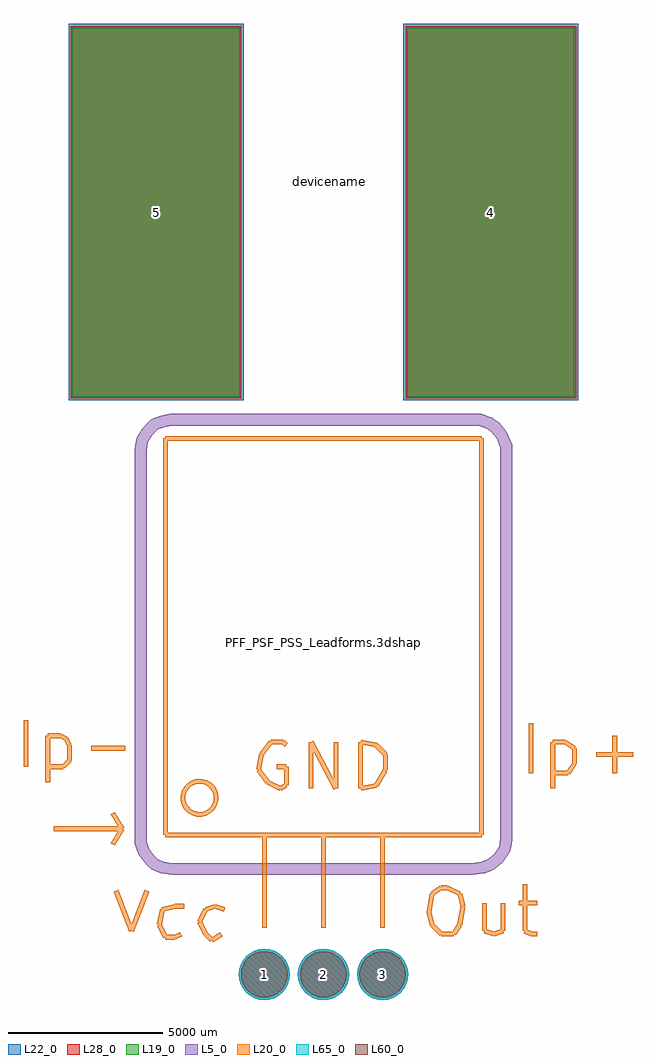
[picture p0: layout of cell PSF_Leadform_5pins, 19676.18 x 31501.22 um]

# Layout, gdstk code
import gdstk
lib = gdstk.Library(unit=1e-6, precision=1e-09)
def R(c, l, rs):  # rectangles x0, y0, x1, y1
    for r in rs: c.add(gdstk.rectangle(r[:2], r[2:], *l))
def P(c, l, *ps):  # polygons
    for p in ps: c.add(gdstk.Polygon(p, *l))
L5_0 = (5, 0)
L19_0 = (19, 0)
L20_0 = (20, 0)
L22_0 = (22, 0)
L28_0 = (28, 0)
L60_0 = (60, 0)
L65_0 = (65, 0)

psf_leadform_5pins = lib.new_cell('PSF_Leadform_5pins')
R(psf_leadform_5pins, L19_0, [(-8100.86,7948.13,-2699.22,19849.63), (2699.22,7948.13,8100.86,19849.63)])
R(psf_leadform_5pins, L22_0, [(-8225.86,7823.13,-2574.22,19974.63), (2574.22,7823.13,8225.86,19974.63)])
P(psf_leadform_5pins, L22_0, [(-1084.51,-10701.02),(-1100.373,-10539.959),(-1147.353,-10385.088),(-1223.644,-10242.358),(-1326.314,-10117.254),(-1451.418,-10014.584),(-1594.148,-9938.293),(-1749.019,-9891.313),(-1910.08,-9875.45),(-2071.141,-9891.313),(-2226.012,-9938.293),(-2368.742,-10014.584),(-2493.846,-10117.254),(-2596.516,-10242.358),(-2672.807,-10385.088),(-2719.787,-10539.959),(-2735.65,-10701.02),(-2719.787,-10862.081),(-2672.807,-11016.952),(-2596.516,-11159.682),(-2493.846,-11284.786),(-2368.742,-11387.456),(-2226.012,-11463.747),(-2071.141,-11510.727),(-1910.08,-11526.59),(-1749.019,-11510.727),(-1594.148,-11463.747),(-1451.418,-11387.456),(-1326.314,-11284.786),(-1223.644,-11159.682),(-1147.353,-11016.952),(-1100.373,-10862.081)],
  [(2735.65,-10701.02),(2719.787,-10539.959),(2672.807,-10385.088),(2596.516,-10242.358),(2493.846,-10117.254),(2368.742,-10014.584),(2226.012,-9938.293),(2071.141,-9891.313),(1910.08,-9875.45),(1749.019,-9891.313),(1594.148,-9938.293),(1451.418,-10014.584),(1326.314,-10117.254),(1223.644,-10242.358),(1147.353,-10385.088),(1100.373,-10539.959),(1084.51,-10701.02),(1100.373,-10862.081),(1147.353,-11016.952),(1223.644,-11159.682),(1326.314,-11284.786),(1451.418,-11387.456),(1594.148,-11463.747),(1749.019,-11510.727),(1910.08,-11526.59),(2071.141,-11510.727),(2226.012,-11463.747),(2368.742,-11387.456),(2493.846,-11284.786),(2596.516,-11159.682),(2672.807,-11016.952),(2719.787,-10862.081)],
  [(825.57,-10701.02),(809.707,-10539.959),(762.727,-10385.088),(686.436,-10242.358),(583.766,-10117.254),(458.662,-10014.584),(315.932,-9938.293),(161.061,-9891.313),(0,-9875.45),(-161.061,-9891.313),(-315.932,-9938.293),(-458.662,-10014.584),(-583.766,-10117.254),(-686.436,-10242.358),(-762.727,-10385.088),(-809.707,-10539.959),(-825.57,-10701.02),(-809.707,-10862.081),(-762.727,-11016.952),(-686.436,-11159.682),(-583.766,-11284.786),(-458.662,-11387.456),(-315.932,-11463.747),(-161.061,-11510.727),(0,-11526.59),(161.061,-11510.727),(315.932,-11463.747),(458.662,-11387.456),(583.766,-11284.786),(686.436,-11159.682),(762.727,-11016.952),(809.707,-10862.081)])
R(psf_leadform_5pins, L28_0, [(-8150.86,7898.13,-2649.22,19899.63), (2649.22,7898.13,8150.86,19899.63)])
P(psf_leadform_5pins, L28_0, [(-1159.51,-10701.02),(-1173.932,-10554.591),(-1216.644,-10413.789),(-1286.004,-10284.026),(-1379.347,-10170.287),(-1493.086,-10076.944),(-1622.849,-10007.584),(-1763.651,-9964.872),(-1910.08,-9950.45),(-2056.509,-9964.872),(-2197.311,-10007.584),(-2327.074,-10076.944),(-2440.813,-10170.287),(-2534.156,-10284.026),(-2603.516,-10413.789),(-2646.228,-10554.591),(-2660.65,-10701.02),(-2646.228,-10847.449),(-2603.516,-10988.251),(-2534.156,-11118.014),(-2440.813,-11231.753),(-2327.074,-11325.096),(-2197.311,-11394.456),(-2056.509,-11437.168),(-1910.08,-11451.59),(-1763.651,-11437.168),(-1622.849,-11394.456),(-1493.086,-11325.096),(-1379.347,-11231.753),(-1286.004,-11118.014),(-1216.644,-10988.251),(-1173.932,-10847.449)],
  [(2660.65,-10701.02),(2646.228,-10554.591),(2603.516,-10413.789),(2534.156,-10284.026),(2440.813,-10170.287),(2327.074,-10076.944),(2197.311,-10007.584),(2056.509,-9964.872),(1910.08,-9950.45),(1763.651,-9964.872),(1622.849,-10007.584),(1493.086,-10076.944),(1379.347,-10170.287),(1286.004,-10284.026),(1216.644,-10413.789),(1173.932,-10554.591),(1159.51,-10701.02),(1173.932,-10847.449),(1216.644,-10988.251),(1286.004,-11118.014),(1379.347,-11231.753),(1493.086,-11325.096),(1622.849,-11394.456),(1763.651,-11437.168),(1910.08,-11451.59),(2056.509,-11437.168),(2197.311,-11394.456),(2327.074,-11325.096),(2440.813,-11231.753),(2534.156,-11118.014),(2603.516,-10988.251),(2646.228,-10847.449)],
  [(750.57,-10701.02),(736.148,-10554.591),(693.436,-10413.789),(624.076,-10284.026),(530.733,-10170.287),(416.994,-10076.944),(287.231,-10007.584),(146.429,-9964.872),(0,-9950.45),(-146.429,-9964.872),(-287.231,-10007.584),(-416.994,-10076.944),(-530.733,-10170.287),(-624.076,-10284.026),(-693.436,-10413.789),(-736.148,-10554.591),(-750.57,-10701.02),(-736.148,-10847.449),(-693.436,-10988.251),(-624.076,-11118.014),(-530.733,-11231.753),(-416.994,-11325.096),(-287.231,-11394.456),(-146.429,-11437.168),(0,-11451.59),(146.429,-11437.168),(287.231,-11394.456),(416.994,-11325.096),(530.733,-11231.753),(624.076,-11118.014),(693.436,-10988.251),(736.148,-10847.449)])
P(psf_leadform_5pins, L60_0, [(-1159.51,-10701.02),(-1173.932,-10554.591),(-1216.644,-10413.789),(-1286.004,-10284.026),(-1379.347,-10170.287),(-1493.086,-10076.944),(-1622.849,-10007.584),(-1763.651,-9964.872),(-1910.08,-9950.45),(-2056.509,-9964.872),(-2197.311,-10007.584),(-2327.074,-10076.944),(-2440.813,-10170.287),(-2534.156,-10284.026),(-2603.516,-10413.789),(-2646.228,-10554.591),(-2660.65,-10701.02),(-2646.228,-10847.449),(-2603.516,-10988.251),(-2534.156,-11118.014),(-2440.813,-11231.753),(-2327.074,-11325.096),(-2197.311,-11394.456),(-2056.509,-11437.168),(-1910.08,-11451.59),(-1763.651,-11437.168),(-1622.849,-11394.456),(-1493.086,-11325.096),(-1379.347,-11231.753),(-1286.004,-11118.014),(-1216.644,-10988.251),(-1173.932,-10847.449)],
  [(2660.65,-10701.02),(2646.228,-10554.591),(2603.516,-10413.789),(2534.156,-10284.026),(2440.813,-10170.287),(2327.074,-10076.944),(2197.311,-10007.584),(2056.509,-9964.872),(1910.08,-9950.45),(1763.651,-9964.872),(1622.849,-10007.584),(1493.086,-10076.944),(1379.347,-10170.287),(1286.004,-10284.026),(1216.644,-10413.789),(1173.932,-10554.591),(1159.51,-10701.02),(1173.932,-10847.449),(1216.644,-10988.251),(1286.004,-11118.014),(1379.347,-11231.753),(1493.086,-11325.096),(1622.849,-11394.456),(1763.651,-11437.168),(1910.08,-11451.59),(2056.509,-11437.168),(2197.311,-11394.456),(2327.074,-11325.096),(2440.813,-11231.753),(2534.156,-11118.014),(2603.516,-10988.251),(2646.228,-10847.449)],
  [(750.57,-10701.02),(736.148,-10554.591),(693.436,-10413.789),(624.076,-10284.026),(530.733,-10170.287),(416.994,-10076.944),(287.231,-10007.584),(146.429,-9964.872),(0,-9950.45),(-146.429,-9964.872),(-287.231,-10007.584),(-416.994,-10076.944),(-530.733,-10170.287),(-624.076,-10284.026),(-693.436,-10413.789),(-736.148,-10554.591),(-750.57,-10701.02),(-736.148,-10847.449),(-693.436,-10988.251),(-624.076,-11118.014),(-530.733,-11231.753),(-416.994,-11325.096),(-287.231,-11394.456),(-146.429,-11437.168),(0,-11451.59),(146.429,-11437.168),(287.231,-11394.456),(416.994,-11325.096),(530.733,-11231.753),(624.076,-11118.014),(693.436,-10988.251),(736.148,-10847.449)])
P(psf_leadform_5pins, L65_0, [(-1084.51,-10701.02),(-1100.373,-10539.959),(-1147.353,-10385.088),(-1223.644,-10242.358),(-1326.314,-10117.254),(-1451.418,-10014.584),(-1594.148,-9938.293),(-1749.019,-9891.313),(-1910.08,-9875.45),(-2071.141,-9891.313),(-2226.012,-9938.293),(-2368.742,-10014.584),(-2493.846,-10117.254),(-2596.516,-10242.358),(-2672.807,-10385.088),(-2719.787,-10539.959),(-2735.65,-10701.02),(-2719.787,-10862.081),(-2672.807,-11016.952),(-2596.516,-11159.682),(-2493.846,-11284.786),(-2368.742,-11387.456),(-2226.012,-11463.747),(-2071.141,-11510.727),(-1910.08,-11526.59),(-1749.019,-11510.727),(-1594.148,-11463.747),(-1451.418,-11387.456),(-1326.314,-11284.786),(-1223.644,-11159.682),(-1147.353,-11016.952),(-1100.373,-10862.081)],
  [(2735.65,-10701.02),(2719.787,-10539.959),(2672.807,-10385.088),(2596.516,-10242.358),(2493.846,-10117.254),(2368.742,-10014.584),(2226.012,-9938.293),(2071.141,-9891.313),(1910.08,-9875.45),(1749.019,-9891.313),(1594.148,-9938.293),(1451.418,-10014.584),(1326.314,-10117.254),(1223.644,-10242.358),(1147.353,-10385.088),(1100.373,-10539.959),(1084.51,-10701.02),(1100.373,-10862.081),(1147.353,-11016.952),(1223.644,-11159.682),(1326.314,-11284.786),(1451.418,-11387.456),(1594.148,-11463.747),(1749.019,-11510.727),(1910.08,-11526.59),(2071.141,-11510.727),(2226.012,-11463.747),(2368.742,-11387.456),(2493.846,-11284.786),(2596.516,-11159.682),(2672.807,-11016.952),(2719.787,-10862.081)],
  [(825.57,-10701.02),(809.707,-10539.959),(762.727,-10385.088),(686.436,-10242.358),(583.766,-10117.254),(458.662,-10014.584),(315.932,-9938.293),(161.061,-9891.313),(0,-9875.45),(-161.061,-9891.313),(-315.932,-9938.293),(-458.662,-10014.584),(-583.766,-10117.254),(-686.436,-10242.358),(-762.727,-10385.088),(-809.707,-10539.959),(-825.57,-10701.02),(-809.707,-10862.081),(-762.727,-11016.952),(-686.436,-11159.682),(-583.766,-11284.786),(-458.662,-11387.456),(-315.932,-11463.747),(-161.061,-11510.727),(0,-11526.59),(161.061,-11510.727),(315.932,-11463.747),(458.662,-11387.456),(583.766,-11284.786),(686.436,-11159.682),(762.727,-11016.952),(809.707,-10862.081)])
psf_leadform_5pins.add(gdstk.FlexPath([(-5100.32,-6200.14),(-5100.32,6598.92)], 149.998, ends="flush", simple_path=True, layer=20, datatype=0))  # L20_0
psf_leadform_5pins.add(gdstk.FlexPath([(5100.32,-6200.14),(-5100.32,-6200.14)], 149.998, ends="flush", simple_path=True, layer=20, datatype=0))  # L20_0
psf_leadform_5pins.add(gdstk.FlexPath([(5100.32,6598.92),(5100.32,-6200.14)], 149.998, ends="flush", simple_path=True, layer=20, datatype=0))  # L20_0
psf_leadform_5pins.add(gdstk.FlexPath([(-5100.32,6598.92),(5100.32,6598.92)], 149.998, ends="flush", simple_path=True, layer=20, datatype=0))  # L20_0
psf_leadform_5pins.add(gdstk.FlexPath([(0,-6200.14),(0,-9199.88)], 149.998, ends="flush", simple_path=True, layer=20, datatype=0))  # L20_0
psf_leadform_5pins.add(gdstk.FlexPath([(-1899.92,-6200.14),(-1899.92,-9199.88)], 149.998, ends="flush", simple_path=True, layer=20, datatype=0))  # L20_0
psf_leadform_5pins.add(gdstk.FlexPath([(1899.92,-6200.14),(1899.92,-9199.88)], 149.998, ends="flush", simple_path=True, layer=20, datatype=0))  # L20_0
psf_leadform_5pins.add(gdstk.FlexPath([(-9601.2,-2499.36),(-9601.2,-4000.5)], 149.998, ends="flush", simple_path=True, layer=20, datatype=0))  # L20_0
psf_leadform_5pins.add(gdstk.FlexPath([(-8900.16,-2999.74),(-8900.16,-4500.88)], 149.998, ends="flush", simple_path=True, layer=20, datatype=0))  # L20_0
psf_leadform_5pins.add(gdstk.FlexPath([(-8399.78,-4000.5),(-8900.16,-4000.5)], 149.998, ends="flush", simple_path=True, layer=20, datatype=0))  # L20_0
psf_leadform_5pins.add(gdstk.FlexPath([(-8201.66,-3799.84),(-8399.78,-4000.5)], 149.998, ends="flush", simple_path=True, layer=20, datatype=0))  # L20_0
psf_leadform_5pins.add(gdstk.FlexPath([(-8201.66,-3299.46),(-8201.66,-3799.84)], 149.998, ends="flush", simple_path=True, layer=20, datatype=0))  # L20_0
psf_leadform_5pins.add(gdstk.FlexPath([(-8300.72,-3098.8),(-8201.66,-3299.46)], 149.998, ends="flush", simple_path=True, layer=20, datatype=0))  # L20_0
psf_leadform_5pins.add(gdstk.FlexPath([(-8501.38,-2999.74),(-8300.72,-3098.8)], 149.998, ends="flush", simple_path=True, layer=20, datatype=0))  # L20_0
psf_leadform_5pins.add(gdstk.FlexPath([(-8900.16,-2999.74),(-8501.38,-2999.74)], 149.998, ends="flush", simple_path=True, layer=20, datatype=0))  # L20_0
psf_leadform_5pins.add(gdstk.FlexPath([(-6400.8,-3401.06),(-7500.62,-3401.06)], 149.998, ends="flush", simple_path=True, layer=20, datatype=0))  # L20_0
psf_leadform_5pins.add(gdstk.FlexPath([(-1198.88,-4000.5),(-1501.14,-4000.5)], 149.998, ends="flush", simple_path=True, layer=20, datatype=0))  # L20_0
psf_leadform_5pins.add(gdstk.FlexPath([(-1198.88,-4599.94),(-1198.88,-4000.5)], 149.998, ends="flush", simple_path=True, layer=20, datatype=0))  # L20_0
psf_leadform_5pins.add(gdstk.FlexPath([(-1399.54,-4699),(-1198.88,-4599.94)], 149.998, ends="flush", simple_path=True, layer=20, datatype=0))  # L20_0
psf_leadform_5pins.add(gdstk.FlexPath([(-1800.86,-4500.88),(-1399.54,-4699)], 149.998, ends="flush", simple_path=True, layer=20, datatype=0))  # L20_0
psf_leadform_5pins.add(gdstk.FlexPath([(-2100.58,-4099.56),(-1800.86,-4500.88)], 149.998, ends="flush", simple_path=True, layer=20, datatype=0))  # L20_0
psf_leadform_5pins.add(gdstk.FlexPath([(-1998.98,-3599.18),(-2100.58,-4099.56)], 149.998, ends="flush", simple_path=True, layer=20, datatype=0))  # L20_0
psf_leadform_5pins.add(gdstk.FlexPath([(-1699.26,-3200.4),(-1998.98,-3599.18)], 149.998, ends="flush", simple_path=True, layer=20, datatype=0))  # L20_0
psf_leadform_5pins.add(gdstk.FlexPath([(-1300.48,-3200.4),(-1699.26,-3200.4)], 149.998, ends="flush", simple_path=True, layer=20, datatype=0))  # L20_0
psf_leadform_5pins.add(gdstk.FlexPath([(-1198.88,-3299.46),(-1300.48,-3200.4)], 149.998, ends="flush", simple_path=True, layer=20, datatype=0))  # L20_0
psf_leadform_5pins.add(gdstk.FlexPath([(398.78,-4699),(398.78,-3200.4)], 149.998, ends="flush", simple_path=True, layer=20, datatype=0))  # L20_0
psf_leadform_5pins.add(gdstk.FlexPath([(-398.78,-3200.4),(398.78,-4699)], 149.998, ends="flush", simple_path=True, layer=20, datatype=0))  # L20_0
psf_leadform_5pins.add(gdstk.FlexPath([(-398.78,-4699),(-398.78,-3200.4)], 149.998, ends="flush", simple_path=True, layer=20, datatype=0))  # L20_0
psf_leadform_5pins.add(gdstk.FlexPath([(1699.26,-3299.46),(1198.88,-3200.4)], 149.998, ends="flush", simple_path=True, layer=20, datatype=0))  # L20_0
psf_leadform_5pins.add(gdstk.FlexPath([(1998.98,-3599.18),(1699.26,-3299.46)], 149.998, ends="flush", simple_path=True, layer=20, datatype=0))  # L20_0
psf_leadform_5pins.add(gdstk.FlexPath([(1998.98,-4099.56),(1998.98,-3599.18)], 149.998, ends="flush", simple_path=True, layer=20, datatype=0))  # L20_0
psf_leadform_5pins.add(gdstk.FlexPath([(1699.26,-4599.94),(1998.98,-4099.56)], 149.998, ends="flush", simple_path=True, layer=20, datatype=0))  # L20_0
psf_leadform_5pins.add(gdstk.FlexPath([(1198.88,-4699),(1699.26,-4599.94)], 149.998, ends="flush", simple_path=True, layer=20, datatype=0))  # L20_0
psf_leadform_5pins.add(gdstk.FlexPath([(1198.88,-3200.4),(1198.88,-4699)], 149.998, ends="flush", simple_path=True, layer=20, datatype=0))  # L20_0
psf_leadform_5pins.add(gdstk.FlexPath([(6700.52,-2600.96),(6700.52,-4201.16)], 149.998, ends="flush", simple_path=True, layer=20, datatype=0))  # L20_0
psf_leadform_5pins.add(gdstk.FlexPath([(7399.02,-3200.4),(7399.02,-4699)], 149.998, ends="flush", simple_path=True, layer=20, datatype=0))  # L20_0
psf_leadform_5pins.add(gdstk.FlexPath([(7899.4,-4201.16),(7500.62,-4201.16)], 149.998, ends="flush", simple_path=True, layer=20, datatype=0))  # L20_0
psf_leadform_5pins.add(gdstk.FlexPath([(8100.06,-3898.9),(7899.4,-4201.16)], 149.998, ends="flush", simple_path=True, layer=20, datatype=0))  # L20_0
psf_leadform_5pins.add(gdstk.FlexPath([(8100.06,-3401.06),(8100.06,-3898.9)], 149.998, ends="flush", simple_path=True, layer=20, datatype=0))  # L20_0
psf_leadform_5pins.add(gdstk.FlexPath([(7800.34,-3200.4),(8100.06,-3401.06)], 149.998, ends="flush", simple_path=True, layer=20, datatype=0))  # L20_0
psf_leadform_5pins.add(gdstk.FlexPath([(7399.02,-3200.4),(7800.34,-3200.4)], 149.998, ends="flush", simple_path=True, layer=20, datatype=0))  # L20_0
psf_leadform_5pins.add(gdstk.FlexPath([(9999.98,-3599.18),(8798.56,-3599.18)], 149.998, ends="flush", simple_path=True, layer=20, datatype=0))  # L20_0
psf_leadform_5pins.add(gdstk.FlexPath([(9400.54,-2999.74),(9400.54,-4201.16)], 149.998, ends="flush", simple_path=True, layer=20, datatype=0))  # L20_0
psf_leadform_5pins.add(gdstk.FlexPath([(4399.28,-8097.52),(4000.5,-7899.4)], 149.998, ends="flush", simple_path=True, layer=20, datatype=0))  # L20_0
psf_leadform_5pins.add(gdstk.FlexPath([(4500.88,-8498.84),(4399.28,-8097.52)], 149.998, ends="flush", simple_path=True, layer=20, datatype=0))  # L20_0
psf_leadform_5pins.add(gdstk.FlexPath([(4399.28,-9098.28),(4500.88,-8498.84)], 149.998, ends="flush", simple_path=True, layer=20, datatype=0))  # L20_0
psf_leadform_5pins.add(gdstk.FlexPath([(4201.16,-9398),(4399.28,-9098.28)], 149.998, ends="flush", simple_path=True, layer=20, datatype=0))  # L20_0
psf_leadform_5pins.add(gdstk.FlexPath([(3799.84,-9398),(4201.16,-9398)], 149.998, ends="flush", simple_path=True, layer=20, datatype=0))  # L20_0
psf_leadform_5pins.add(gdstk.FlexPath([(3500.12,-9098.28),(3799.84,-9398)], 149.998, ends="flush", simple_path=True, layer=20, datatype=0))  # L20_0
psf_leadform_5pins.add(gdstk.FlexPath([(3401.06,-8699.5),(3500.12,-9098.28)], 149.998, ends="flush", simple_path=True, layer=20, datatype=0))  # L20_0
psf_leadform_5pins.add(gdstk.FlexPath([(3500.12,-8097.52),(3401.06,-8699.5)], 149.998, ends="flush", simple_path=True, layer=20, datatype=0))  # L20_0
psf_leadform_5pins.add(gdstk.FlexPath([(3799.84,-7899.4),(3500.12,-8097.52)], 149.998, ends="flush", simple_path=True, layer=20, datatype=0))  # L20_0
psf_leadform_5pins.add(gdstk.FlexPath([(4000.5,-7901.94),(3799.84,-7901.94)], 149.998, ends="flush", simple_path=True, layer=20, datatype=0))  # L20_0
psf_leadform_5pins.add(gdstk.FlexPath([(5798.82,-9298.94),(5798.82,-8399.78)], 149.998, ends="flush", simple_path=True, layer=20, datatype=0))  # L20_0
psf_leadform_5pins.add(gdstk.FlexPath([(5499.1,-9398),(5798.82,-9298.94)], 149.998, ends="flush", simple_path=True, layer=20, datatype=0))  # L20_0
psf_leadform_5pins.add(gdstk.FlexPath([(5199.38,-9298.94),(5499.1,-9398)], 149.998, ends="flush", simple_path=True, layer=20, datatype=0))  # L20_0
psf_leadform_5pins.add(gdstk.FlexPath([(5199.38,-8399.78),(5199.38,-9298.94)], 149.998, ends="flush", simple_path=True, layer=20, datatype=0))  # L20_0
psf_leadform_5pins.add(gdstk.FlexPath([(6700.52,-9398),(6901.18,-9398)], 149.998, ends="flush", simple_path=True, layer=20, datatype=0))  # L20_0
psf_leadform_5pins.add(gdstk.FlexPath([(6499.86,-9298.94),(6700.52,-9398)], 149.998, ends="flush", simple_path=True, layer=20, datatype=0))  # L20_0
psf_leadform_5pins.add(gdstk.FlexPath([(6499.86,-7797.8),(6499.86,-9298.94)], 149.998, ends="flush", simple_path=True, layer=20, datatype=0))  # L20_0
psf_leadform_5pins.add(gdstk.FlexPath([(6901.18,-8399.78),(6299.2,-8399.78)], 149.998, ends="flush", simple_path=True, layer=20, datatype=0))  # L20_0
psf_leadform_5pins.add(gdstk.FlexPath([(-6200.14,-9301.48),(-5699.76,-8001)], 149.998, ends="flush", simple_path=True, layer=20, datatype=0))  # L20_0
psf_leadform_5pins.add(gdstk.FlexPath([(-6700.52,-8001),(-6200.14,-9301.48)], 149.998, ends="flush", simple_path=True, layer=20, datatype=0))  # L20_0
psf_leadform_5pins.add(gdstk.FlexPath([(-4800.6,-9502.14),(-4599.94,-9400.54)], 149.998, ends="flush", simple_path=True, layer=20, datatype=0))  # L20_0
psf_leadform_5pins.add(gdstk.FlexPath([(-5100.32,-9502.14),(-4800.6,-9502.14)], 149.998, ends="flush", simple_path=True, layer=20, datatype=0))  # L20_0
psf_leadform_5pins.add(gdstk.FlexPath([(-5300.98,-9100.82),(-5100.32,-9502.14)], 149.998, ends="flush", simple_path=True, layer=20, datatype=0))  # L20_0
psf_leadform_5pins.add(gdstk.FlexPath([(-5199.38,-8600.44),(-5300.98,-9100.82)], 149.998, ends="flush", simple_path=True, layer=20, datatype=0))  # L20_0
psf_leadform_5pins.add(gdstk.FlexPath([(-4800.6,-8501.38),(-5199.38,-8600.44)], 149.998, ends="flush", simple_path=True, layer=20, datatype=0))  # L20_0
psf_leadform_5pins.add(gdstk.FlexPath([(-4500.88,-8501.38),(-4800.6,-8501.38)], 149.998, ends="flush", simple_path=True, layer=20, datatype=0))  # L20_0
psf_leadform_5pins.add(gdstk.FlexPath([(-3599.18,-9601.2),(-3299.46,-9400.54)], 149.998, ends="flush", simple_path=True, layer=20, datatype=0))  # L20_0
psf_leadform_5pins.add(gdstk.FlexPath([(-3799.84,-9400.54),(-3599.18,-9601.2)], 149.998, ends="flush", simple_path=True, layer=20, datatype=0))  # L20_0
psf_leadform_5pins.add(gdstk.FlexPath([(-4000.5,-9001.76),(-3799.84,-9400.54)], 149.998, ends="flush", simple_path=True, layer=20, datatype=0))  # L20_0
psf_leadform_5pins.add(gdstk.FlexPath([(-3799.84,-8600.44),(-4000.5,-9001.76)], 149.998, ends="flush", simple_path=True, layer=20, datatype=0))  # L20_0
psf_leadform_5pins.add(gdstk.FlexPath([(-3500.12,-8501.38),(-3799.84,-8600.44)], 149.998, ends="flush", simple_path=True, layer=20, datatype=0))  # L20_0
psf_leadform_5pins.add(gdstk.FlexPath([(-3200.4,-8600.44),(-3500.12,-8501.38)], 149.998, ends="flush", simple_path=True, layer=20, datatype=0))  # L20_0
psf_leadform_5pins.add(gdstk.FlexPath([(-3799.84,-5499.1),(-3677.827,-5430.202),(-3577.803,-5332.072),(-3506.586,-5211.398),(-3469.028,-5076.403),(-3467.689,-4936.288),(-3502.66,-4800.6),(-3571.558,-4678.587),(-3669.688,-4578.563),(-3790.362,-4507.346),(-3925.357,-4469.788),(-4065.472,-4468.449),(-4201.16,-4503.42),(-4323.173,-4572.318),(-4423.197,-4670.448),(-4494.414,-4791.122),(-4531.972,-4926.117),(-4533.311,-5066.232),(-4498.34,-5201.92),(-4429.442,-5323.933),(-4331.312,-5423.957),(-4210.638,-5495.174),(-4075.643,-5532.732),(-3935.528,-5534.071),(-3799.84,-5499.1)], 149.998, ends="flush", simple_path=True, layer=20, datatype=0))  # L20_0
psf_leadform_5pins.add(gdstk.FlexPath([(-6499.86,-5999.48),(-8699.5,-5999.48)], 149.998, ends="flush", simple_path=True, layer=20, datatype=0))  # L20_0
psf_leadform_5pins.add(gdstk.FlexPath([(-6499.86,-5999.48),(-6799.58,-5499.1)], 149.998, ends="flush", simple_path=True, layer=20, datatype=0))  # L20_0
psf_leadform_5pins.add(gdstk.FlexPath([(-6499.86,-5999.48),(-6799.58,-6499.86)], 149.998, ends="flush", simple_path=True, layer=20, datatype=0))  # L20_0
psf_leadform_5pins.add(gdstk.FlexPath([(5900.42,6250.94),(5900.42,-6350),(5849.62,-6649.72),(5648.96,-6949.44),(5400.04,-7150.1),(5151.12,-7249.16),(4800.6,-7299.96),(-4899.66,-7299.96),(-5199.38,-7249.16),(-5450.84,-7150.1),(-5600.7,-7000.24),(-5798.82,-6748.78),(-5900.42,-6449.06),(-5900.42,6250.94),(-5849.62,6550.66),(-5699.76,6799.58),(-5450.84,7051.04),(-5199.38,7150.1),(-4950.46,7200.9),(5049.52,7200.9),(5349.24,7099.3),(5549.9,6949.44),(5750.56,6700.52),(5900.42,6350),(5900.42,5951.22)], 380.998, ends="flush", simple_path=True, layer=5, datatype=0))  # L5_0
psf_leadform_5pins.add(gdstk.FlexPath([(5900.42,5349.24),(5900.42,-6200.14)], 380.998, ends="flush", simple_path=True, layer=5, datatype=0))  # L5_0
psf_leadform_5pins.add(gdstk.Label('PFF_PSF_PSS_Leadforms.3dshapes/PSF_Leadform_5pins.wrl', (0,0), layer=12, texttype=0))
psf_leadform_5pins.add(gdstk.Label('5', (-5400.04,13898.88), layer=28, texttype=0))
psf_leadform_5pins.add(gdstk.Label('4', (5400.04,13898.88), layer=28, texttype=0))
psf_leadform_5pins.add(gdstk.Label('1', (-1910.08,-10701.02), layer=28, texttype=0))
psf_leadform_5pins.add(gdstk.Label('3', (1910.08,-10701.02), layer=28, texttype=0))
psf_leadform_5pins.add(gdstk.Label('2', (0,-10701.02), layer=28, texttype=0))
psf_leadform_5pins.add(gdstk.Label('type', (200.66,-13898.88), layer=9, texttype=0))
psf_leadform_5pins.add(gdstk.Label('devicename', (200.66,14899.64), layer=9, texttype=0))

lib.write_gds('PSF_Leadform_5pins.gds')
